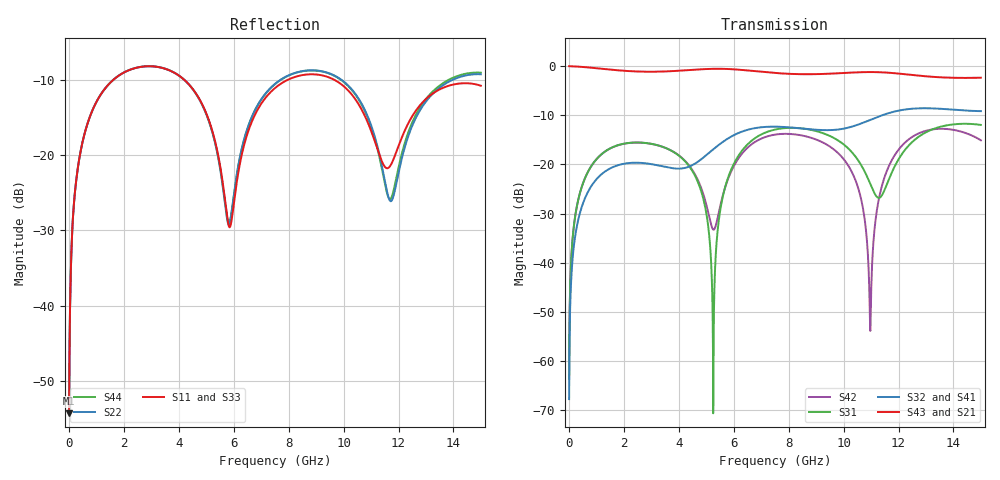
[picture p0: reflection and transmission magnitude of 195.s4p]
! Created with skrf 1.8.0 (http://scikit-rf.org).
# GHz S RI R 50.0
!freq ReS11 ImS11 ReS12 ImS12 ReS13 ImS13
! ReS14 ImS14
! ReS21 ImS21 ReS22 ImS22 ReS23 ImS23
! ReS24 ImS24
! ReS31 ImS31 ReS32 ImS32 ReS33 ImS33
! ReS34 ImS34
! ReS41 ImS41 ReS42 ImS42 ReS43 ImS43
! ReS44 ImS44
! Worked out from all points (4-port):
!   2499 points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, 5 MHz to 15 GHz, reference 50 ohm
!   strongest paths, dB at 5 MHz, 3.476 GHz, 7.19 GHz, 11.1 GHz, 15 GHz:
!     S43: 0.0, -1.1, -1.3, -1.2, -2.4
!     S21: 0.0, -1.1, -1.3, -1.2, -2.3
!     S32: -67.7, -20.5, -12.3, -10.6, -9.2
!     S41: -67.7, -20.5, -12.4, -10.6, -9.3
!     S31: -63.6, -16.5, -13.4, -25.5, -12.0
!     S42: -63.6, -16.5, -14.3, -34.9, -15.1
!   lowest |S11| = -54.3 dB at 5 MHz (marker M1), VSWR 1.00, Z = 50.2 + j0.116 ohm
!   |S11| at or under -10 dB: start of sweep to 1.619 GHz; 4.195 GHz to 7.973 GHz (3.778 GHz wide, 62.1 % of centre); 9.655 GHz to end of sweep
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0.005  0.00154 0.00116  0.9984 -0.00299  7.85e-05 0.000658  -7.6e-05 -0.000405
       0.9984 -0.00299  0.00154 0.00116  -7.6e-05 -0.000405  7.85e-05 0.000658
       7.85e-05 0.000658  -7.6e-05 -0.000405  0.00154 0.00116  0.9984 -0.00299
       -7.6e-05 -0.000405  7.85e-05 0.000658  0.9984 -0.00299  0.00154 0.00116
1.519383  0.2423 0.1841  0.6045 -0.6939  0.1267 0.0739  -0.0904 -0.0156
          0.6045 -0.6939  0.2424 0.184  -0.0905 -0.0155  0.126 0.0747
          0.1267 0.0739  -0.0905 -0.0155  0.2422 0.1841  0.6045 -0.694
          -0.0904 -0.0156  0.126 0.0747  0.6045 -0.694  0.2425 0.184
5.252188  0.0689 -0.1193  -0.8617 -0.3721  -9.5e-05 -0.00028  -0.0531 0.1322
          -0.8617 -0.3721  0.0686 -0.1159  -0.0516 0.1328  -0.0203 -0.00802
          -9.5e-05 -0.00028  -0.0516 0.1328  0.0691 -0.1208  -0.8614 -0.3723
          -0.0531 0.1322  -0.0203 -0.00802  -0.8614 -0.3723  0.0696 -0.1171
6.802835  0.1327 0.1356  -0.7932 0.394  0.1484 0.1144  0.1381 0.1893
          -0.7932 0.394  0.1448 0.1433  0.1404 0.1883  0.1033 0.1367
          0.1484 0.1144  0.1404 0.1883  0.1301 0.134  -0.7936 0.394
          0.1381 0.1893  0.1033 0.1367  -0.7936 0.394  0.1452 0.1412
10.97332  0.1145 -0.0959  0.7263 0.4781  -0.0427 -0.0469  0.1505 -0.241
          0.7263 0.4781  0.0963 -0.1317  0.1448 -0.2444  0.00186 0.000816
          -0.0427 -0.0469  0.1448 -0.2444  0.1115 -0.0927  0.7285 0.4758
          0.1505 -0.241  0.00186 0.000816  0.7285 0.4758  0.0944 -0.1284
11.96749  0.0986 0.0497  0.8415 0.0173  0.0224 0.1063  -0.00819 -0.3502
          0.8415 0.0173  0.0601 0.0376  -0.0153 -0.3506  0.0478 0.1286
          0.0224 0.1063  -0.0153 -0.3506  0.0952 0.0536  0.8413 0.0133
          -0.00819 -0.3502  0.0478 0.1286  0.8413 0.0133  0.0642 0.043
15  0.2839 -0.051  0.0705 -0.7606  0.1709 -0.1858  -0.3414 0.0391
    0.0705 -0.7606  0.341 -0.0425  -0.3447 0.0521  0.1711 -0.0416
    0.1709 -0.1858  -0.3447 0.0521  0.2841 -0.038  0.0663 -0.7595
    -0.3414 0.0391  0.1711 -0.0416  0.0663 -0.7595  0.3477 -0.0556
